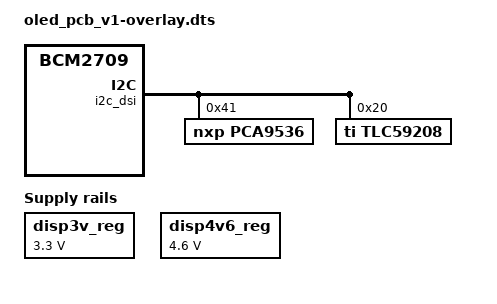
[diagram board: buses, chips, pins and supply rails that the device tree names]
/*
 * Device Tree overlay for gov-400 panel 
 *
 */

/dts-v1/;
/plugin/;

/ {
	compatible = "brcm,bcm2835", "brcm,bcm2708", "brcm,bcm2709";
	fragment@0 {
		target = <&dsi1>;
		__overlay__  {
			pitouchscreen: panel@0 {
				status = "disabled";
			};
		};
	};

        fragment@1 {
		target-path = "/";
		__overlay__  {
	                disp3v_reg: display_3v {
        	                compatible = "regulator-fixed";
                	        regulator-name = "disp-3v-supply";
				regulator-min-microvolt = <3300000>;
				regulator-max-microvolt = <3300000>;
//		                gpio = <&pca9536 0 1>;
				regulator-boot-on;
			};

	                disp4v6_reg: display_4v6 {
        	                compatible = "regulator-fixed";
                	        regulator-name = "disp-4v6-supply";
				regulator-min-microvolt = <4600000>;
				regulator-max-microvolt = <4600000>;
//		                gpio = <&pca9536 2 0>;
			};
                };
        };


	fragment@2 {
		target = <&dsi1>;
		__overlay__  {
			#address-cells = <1>;
			#size-cells = <0>;
			status = "disabled";

			gvodisplay: gvo-display@0 {
				compatible = "gov,rm67162";
				reg = <0>;
//		                reset-gpio = <&pca9536 1 0>;
//		                enable-gpio = <&pca9536 2 0>;
				power-supply = <&disp3v_reg>;
				vss-supply = <&disp4v6_reg>;
			};
//			power-domains = <&power RPI_POWER_DOMAIN_DSI1>;
		};

	};

        fragment@6 {
                target = <&i2c_dsi>;
                __overlay__ {
                        #address-cells = <1>;
                        #size-cells = <0>;
                        status = "okay";

                        pca9536: gpio@41 {
                                compatible = "nxp,pca9536";
                                gpio-controller;
				#gpio-cells = <2>;
                                reg = <0x41>;

                                display_vcc_ctrl: display_vcc_ctrl {
                                        gpios = <0 0>;
                                        output-low;
                                        line-name="display_vcc_pin";
                                };

                                display_reset: display_reset {
                                        gpios = <1 0>;
                                        output-low;
                                        line-name="display_reset_pin";
                                };

                                display_vss_ctrl: display_vss_ctrl {
                                        gpios = <2 0>;
                                        output-low;
                                        line-name="display_vss_pin";
                                };

                                led_reset: led_reset {
                                        gpios = <&pca9536 3 0>;
                                        output-low;
                                        line-name="led_reset_pin";
                                };
			};

			tlc59208: tlc59208@20 {
				#address-cells = <1>;
				#size-cells = <0>;
				compatible = "ti,tlc59208";
				reg = <0x20>;
//				reset-gpio = <&pca9536 3 0>;

				blue0@0 {
					label = "button:blue0";
					reg = <0x0>;
				};
				green0@1 {
					label = "button:green0";
					reg = <0x1>;
				};
				red0@2 {
					label = "button:red0";
					reg = <0x2>;
				};
				blue1@3 {
					label = "button:blue1";
					reg = <0x3>;
				};
				green1@4 {
					label = "button:green1";
					reg = <0x4>;
				};
				red1@5 {
					label = "button:red1";
					reg = <0x5>;
				};

                        };
                };

        };

/*  This is for testing the DT based GPIO expander with something which the user
** can "twiddle" to see it works.  Not enabled normally
	fragment@7 {
        	target = <&leds>;
	        __overlay__ {
	            test: testled {
	                label = "test:LedReset";
	                gpios = <&pca9536 2 0>;
	            };
		};
	};
*/


/* These are variables which can be overridden by the options set in the dtoverlay 
**        __overrides__ {
**                gpiopin = <&pca9536_pins>,"brcm,pins:0";
**                addr = <&pca9536>,"reg:0";
**        };
*/

};
